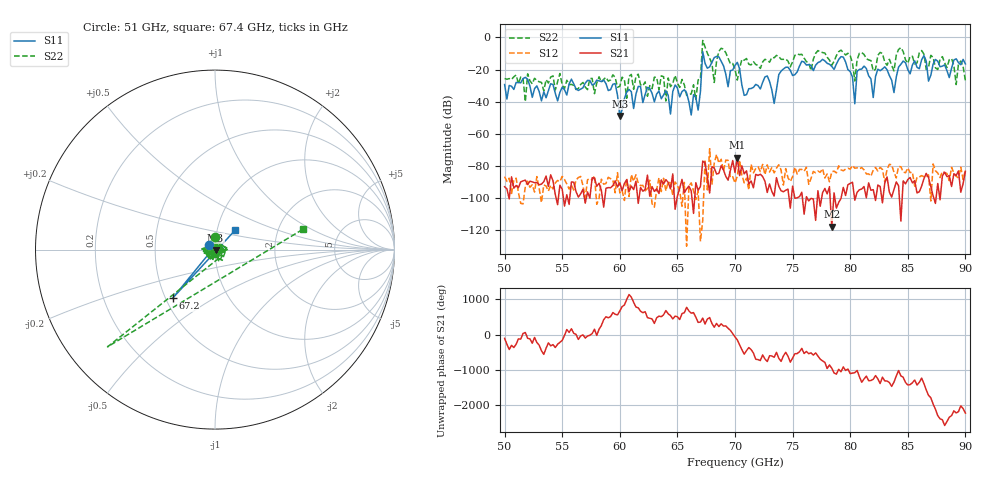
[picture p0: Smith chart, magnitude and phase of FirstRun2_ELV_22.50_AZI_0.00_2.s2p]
! 11/24/2026 3:13:42 PM
! C:\ANRITSUVNA\TEMP\TEMP.S2P
! CHANNEL.1
! TR.MEASUREMENT
! RAW.DATA
# HZ S RI R 50.0
! FREQ.HZ  S11RE  S11IM  S21RE  S21IM  S12RE  S12IM  S22RE  S22IM
!; PortSelection: Port_12
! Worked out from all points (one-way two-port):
!   201 points, 50 GHz to 90 GHz, reference 50 ohm
!   highest |S21| = -74.85 dB at 70.2 GHz (marker M1); lowest = -117.9 dB at 78.4 GHz (marker M2)
!   lowest |S11| = -48.9 dB at 60 GHz (marker M3), VSWR 1.01, Z = 50.3 - j0.15 ohm
!   |S11| at or under -10 dB: start of sweep to 67.19 GHz; 67.23 GHz to end of sweep
!   |S22| runs from -40.0 to -1.9 dB; largest |S21 - S12| = 0.00033
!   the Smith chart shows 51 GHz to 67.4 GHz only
!   S11 on the Smith chart (normalised r, x): 51 GHz: 0.94, +0.05; 67.2 GHz: 0.54, -0.34; 67.4 GHz: 1.22, +0.27
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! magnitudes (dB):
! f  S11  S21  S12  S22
! 50 GHz  -29.3  -92.9  -86.7  -25.6
! 51 GHz  -28.0  -92.2  -87.6  -23.4
! 56.8 GHz  -31.4  -94.6  -92.3  -28.0
! 59.6 GHz  -28.8  -89.3  -96.8  -24.9
! 60 GHz  -48.9  -90.5  -96.8  -30.5
! 63.4 GHz  -33.3  -97.2  -87.4  -32.6
! 66.8 GHz  -45.3  -95.2  -95.7  -26.4
! 67.2 GHz  -8.9  -77.0  -113.9  -1.9
! 67.4 GHz  -16.1  -78.2  -76.2  -6.0
! 68.2 GHz  -12.5  -81.4  -78.2  -28.0
! 68.8 GHz  -14.8  -79.9  -75.9  -6.7
! 70 GHz  -17.4  -84.1  -90.7  -19.9
! 70.2 GHz  -15.5  -74.8  -86.3  -26.6
! 73.4 GHz  -41.1  -98.8  -84.3  -12.7
! 74.2 GHz  -19.6  -96.1  -92.0  -13.6
! 76.8 GHz  -20.6  -100.6  -83.4  -13.6
! 78.4 GHz  -18.0  -117.9  -83.7  -17.4
! 79.4 GHz  -12.2  -93.4  -83.0  -9.4
! 80.4 GHz  -41.3  -101.3  -81.5  -27.1
! 80.6 GHz  -21.0  -96.4  -81.2  -13.9
! 83.4 GHz  -23.7  -96.4  -79.0  -13.6
! 90 GHz  -16.5  -83.4  -82.7  -27.0
